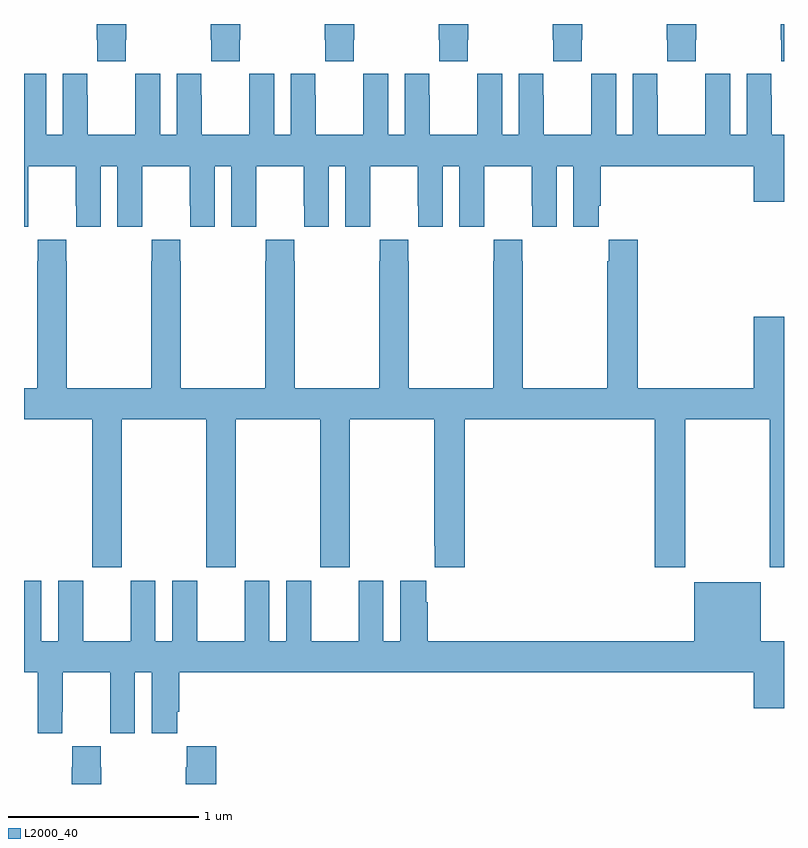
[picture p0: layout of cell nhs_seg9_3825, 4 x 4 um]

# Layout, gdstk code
import gdstk
lib = gdstk.Library(unit=1e-6, precision=1e-09)
def P(c, l, *ps):  # polygons
    for p in ps: c.add(gdstk.Polygon(p, *l))
L2000_40 = (2000, 40)

nhs_seg9_3825 = lib.new_cell('nhs_seg9_3825')
P(nhs_seg9_3825, L2000_40, [(330.135,1198.417),(330.138,1198.417),(330.138,1198.5),(329.983,1198.5),(329.983,1198.417),(329.985,1198.417),(329.985,1198.305),(330.135,1198.305)],
  [(330.735,1198.417),(330.738,1198.417),(330.738,1198.5),(330.583,1198.5),(330.583,1198.417),(330.585,1198.417),(330.585,1198.305),(330.735,1198.305)],
  [(331.335,1198.417),(331.338,1198.417),(331.338,1198.5),(331.183,1198.5),(331.183,1198.417),(331.185,1198.417),(331.185,1198.305),(331.335,1198.305)],
  [(331.935,1198.417),(331.938,1198.417),(331.938,1198.5),(331.783,1198.5),(331.783,1198.417),(331.785,1198.417),(331.785,1198.305),(331.935,1198.305)],
  [(332.535,1198.417),(332.538,1198.417),(332.538,1198.5),(332.383,1198.5),(332.383,1198.417),(332.385,1198.417),(332.385,1198.305),(332.535,1198.305)],
  [(333,1198.5),(332.983,1198.5),(332.983,1198.417),(332.985,1198.417),(332.985,1198.305),(333,1198.305)],
  [(329.535,1198.417),(329.538,1198.417),(329.538,1198.5),(329.383,1198.5),(329.383,1198.417),(329.385,1198.417),(329.385,1198.305),(329.535,1198.305)],
  [(332.804,1198.237),(332.804,1197.916),(332.716,1197.916),(332.716,1198.237),(332.586,1198.237),(332.586,1198.124),(332.585,1198.124),(332.585,1197.916),(332.335,1197.916),(332.335,1198.124),(332.334,1198.124),(332.334,1198.237),(332.204,1198.237),(332.204,1197.916),(332.116,1197.916),(332.116,1198.237),(331.986,1198.237),(331.986,1198.124),(331.985,1198.124),(331.985,1197.916),(331.735,1197.916),(331.735,1198.124),(331.734,1198.124),(331.734,1198.237),(331.604,1198.237),(331.604,1197.916),(331.516,1197.916),(331.516,1198.237),(331.386,1198.237),(331.386,1198.124),(331.385,1198.124),(331.385,1197.916),(331.135,1197.916),(331.135,1198.124),(331.134,1198.124),(331.134,1198.237),(331.004,1198.237),(331.004,1197.916),(330.916,1197.916),(330.916,1198.237),(330.786,1198.237),(330.786,1198.124),(330.785,1198.124),(330.785,1197.916),(330.535,1197.916),(330.535,1198.124),(330.534,1198.124),(330.534,1198.237),(330.404,1198.237),(330.404,1197.916),(330.316,1197.916),(330.316,1198.237),(330.186,1198.237),(330.186,1198.124),(330.185,1198.124),(330.185,1197.916),(329.935,1197.916),(329.935,1198.124),(329.934,1198.124),(329.934,1198.237),(329.804,1198.237),(329.804,1197.916),(329.716,1197.916),(329.716,1198.237),(329.586,1198.237),(329.586,1198.124),(329.585,1198.124),(329.585,1197.916),(329.335,1197.916),(329.335,1198.124),(329.334,1198.124),(329.334,1198.237),(329.204,1198.237),(329.204,1197.916),(329.116,1197.916),(329.116,1198.237),(329,1198.237),(329,1197.432),(329.022,1197.432),(329.022,1197.544),(329.023,1197.544),(329.023,1197.752),(329.273,1197.752),(329.273,1197.544),(329.274,1197.544),(329.274,1197.432),(329.404,1197.432),(329.404,1197.752),(329.492,1197.752),(329.492,1197.432),(329.622,1197.432),(329.622,1197.544),(329.623,1197.544),(329.623,1197.752),(329.873,1197.752),(329.873,1197.544),(329.874,1197.544),(329.874,1197.432),(330.004,1197.432),(330.004,1197.752),(330.092,1197.752),(330.092,1197.432),(330.222,1197.432),(330.222,1197.544),(330.223,1197.544),(330.223,1197.752),(330.473,1197.752),(330.473,1197.544),(330.474,1197.544),(330.474,1197.432),(330.604,1197.432),(330.604,1197.752),(330.692,1197.752),(330.692,1197.432),(330.822,1197.432),(330.822,1197.544),(330.823,1197.544),(330.823,1197.752),(331.073,1197.752),(331.073,1197.544),(331.074,1197.544),(331.074,1197.432),(331.204,1197.432),(331.204,1197.752),(331.292,1197.752),(331.292,1197.432),(331.422,1197.432),(331.422,1197.544),(331.423,1197.544),(331.423,1197.752),(331.673,1197.752),(331.673,1197.544),(331.674,1197.544),(331.674,1197.432),(331.804,1197.432),(331.804,1197.752),(331.892,1197.752),(331.892,1197.432),(332.026,1197.432),(332.026,1197.544),(332.036,1197.544),(332.036,1197.752),(332.84,1197.752),(332.84,1197.564),(333,1197.564),(333,1197.916),(332.935,1197.916),(332.935,1198.124),(332.934,1198.124),(332.934,1198.237)],
  [(329.514,1196.42),(329.959,1196.42),(329.959,1195.641),(330.114,1195.641),(330.114,1196.42),(330.559,1196.42),(330.559,1195.641),(330.714,1195.641),(330.714,1196.42),(331.159,1196.42),(331.159,1195.753),(331.163,1195.753),(331.163,1195.641),(331.319,1195.641),(331.319,1196.42),(332.321,1196.42),(332.321,1195.641),(332.481,1195.641),(332.481,1196.42),(332.926,1196.42),(332.926,1195.641),(333,1195.641),(333,1196.959),(332.84,1196.959),(332.84,1196.584),(332.231,1196.584),(332.231,1197.364),(332.077,1197.364),(332.077,1197.251),(332.071,1197.251),(332.071,1196.584),(331.626,1196.584),(331.626,1197.251),(331.623,1197.251),(331.623,1197.364),(331.473,1197.364),(331.473,1197.251),(331.471,1197.251),(331.471,1196.584),(331.026,1196.584),(331.026,1197.251),(331.023,1197.251),(331.023,1197.364),(330.873,1197.364),(330.873,1197.251),(330.871,1197.251),(330.871,1196.584),(330.426,1196.584),(330.426,1197.251),(330.423,1197.251),(330.423,1197.364),(330.273,1197.364),(330.273,1197.251),(330.271,1197.251),(330.271,1196.584),(329.826,1196.584),(329.826,1197.251),(329.823,1197.251),(329.823,1197.364),(329.673,1197.364),(329.673,1197.251),(329.671,1197.251),(329.671,1196.584),(329.226,1196.584),(329.226,1197.251),(329.223,1197.251),(329.223,1197.364),(329.073,1197.364),(329.073,1197.251),(329.071,1197.251),(329.071,1196.584),(329,1196.584),(329,1196.42),(329.359,1196.42),(329.359,1195.641),(329.514,1195.641)],
  [(329.202,1194.88),(329.203,1194.88),(329.203,1195.088),(329.453,1195.088),(329.453,1194.88),(329.454,1194.88),(329.454,1194.768),(329.584,1194.768),(329.584,1195.088),(329.672,1195.088),(329.672,1194.768),(329.806,1194.768),(329.806,1194.88),(329.816,1194.88),(329.816,1195.088),(332.84,1195.088),(332.84,1194.9),(333,1194.9),(333,1195.252),(332.878,1195.252),(332.878,1195.561),(332.528,1195.561),(332.528,1195.252),(331.124,1195.252),(331.124,1195.457),(331.117,1195.457),(331.117,1195.57),(330.98,1195.57),(330.98,1195.252),(330.892,1195.252),(330.892,1195.57),(330.761,1195.57),(330.761,1195.252),(330.511,1195.252),(330.511,1195.57),(330.38,1195.57),(330.38,1195.252),(330.292,1195.252),(330.292,1195.57),(330.161,1195.57),(330.161,1195.252),(329.911,1195.252),(329.911,1195.57),(329.78,1195.57),(329.78,1195.252),(329.692,1195.252),(329.692,1195.57),(329.561,1195.57),(329.561,1195.252),(329.311,1195.252),(329.311,1195.57),(329.18,1195.57),(329.18,1195.252),(329.092,1195.252),(329.092,1195.57),(329,1195.57),(329,1195.088),(329.072,1195.088),(329.072,1194.768),(329.202,1194.768)],
  [(329.406,1194.587),(329.403,1194.587),(329.403,1194.7),(329.253,1194.7),(329.253,1194.587),(329.251,1194.587),(329.251,1194.5),(329.406,1194.5)],
  [(330.011,1194.7),(329.857,1194.7),(329.857,1194.587),(329.851,1194.587),(329.851,1194.5),(330.011,1194.5)])

lib.write_gds('nhs_seg9_3825.gds')
